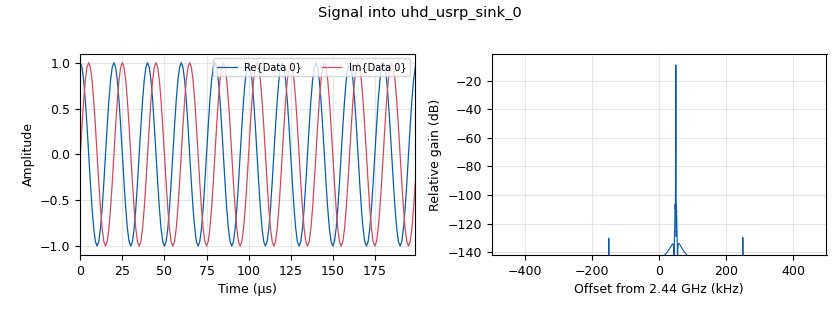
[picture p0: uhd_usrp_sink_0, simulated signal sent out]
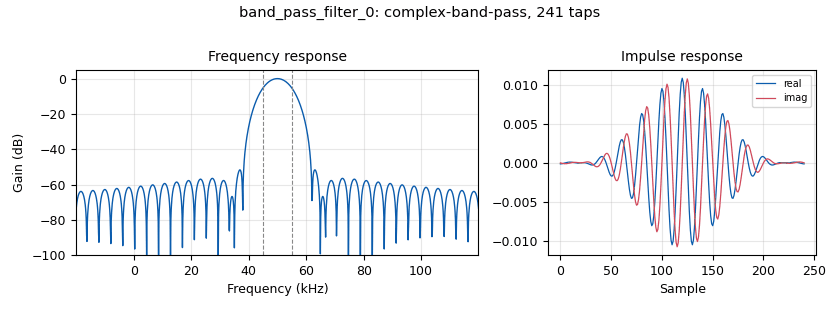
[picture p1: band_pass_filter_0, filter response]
options:
  parameters:
    generate_options: qt_gui
    id: run_phase_coeff_freq_sweep
    output_language: python
    run_options: run
    title: Frequency sweep of calibration coeficients
  states: {}

blocks:
- name: master_freq
  id: variable
  parameters:
    value: 30e6
  states: {}
- name: n_skip
  id: variable
  parameters:
    value: samp_rate
  states: {}
- name: rx0_gain
  id: variable_qtgui_range
  parameters:
    orient: Qt.Horizontal
    start: '0'
    step: '1'
    stop: '76'
    value: '10'
  states: {}
- name: rx1_gain
  id: variable_qtgui_range
  parameters:
    orient: Qt.Horizontal
    start: '0'
    step: '1'
    stop: '76'
    value: '10'
  states: {}
- name: samp_rate
  id: variable
  parameters:
    value: int(1e+6)
  states: {}
- name: tx0_gain
  id: variable_qtgui_range
  parameters:
    orient: Qt.Horizontal
    start: '0'
    step: '0.2'
    stop: '89.8'
    value: '50'
  states: {}
- name: analog_sig_source_x_0_0
  id: analog_sig_source_x
  parameters:
    amp: '1'
    freq: '50e+3'
    offset: '0'
    phase: '0'
    samp_rate: samp_rate
    type: complex
    waveform: analog.GR_COS_WAVE
  states: {}
- name: aoa_calc_phase_diff_0_0
  id: aoa_calc_phase_diff
  parameters:
    node_idx: '1'
    norm_spacing: '0.5'
  states: {}
- name: aoa_precise_moving_average_0_0_0_0_0_0_0
  id: aoa_precise_moving_average
  parameters:
    length: int(1e5)
    max_iter: int(1e5)
  states: {}
- name: band_pass_filter_0
  id: band_pass_filter
  parameters:
    decim: '1'
    gain: '1'
    high_cutoff_freq: '55e+3'
    low_cutoff_freq: '45e+3'
    samp_rate: samp_rate
    type: fir_filter_ccc
    width: '10e+3'
    win: firdes.WIN_HAMMING
  states: {}
- name: band_pass_filter_0_1
  id: band_pass_filter
  parameters:
    decim: '1'
    gain: '1'
    high_cutoff_freq: '55e+3'
    low_cutoff_freq: '45e+3'
    samp_rate: samp_rate
    type: fir_filter_ccc
    width: '10e+3'
    win: firdes.WIN_HAMMING
  states: {}
- name: blocks_complex_to_real_0
  id: blocks_complex_to_real
  parameters: {}
  states: {}
- name: blocks_complex_to_real_0_0
  id: blocks_complex_to_real
  parameters: {}
  states: {}
- name: blocks_complex_to_real_0_0_0
  id: blocks_complex_to_real
  parameters: {}
  states: {}
- name: blocks_complex_to_real_0_1
  id: blocks_complex_to_real
  parameters: {}
  states: {}
- name: blocks_skiphead_0
  id: blocks_skiphead
  parameters:
    num_items: n_skip
    type: complex
  states: {}
- name: blocks_skiphead_0_0
  id: blocks_skiphead
  parameters:
    num_items: n_skip
    type: complex
  states: {}
- name: center_freq
  id: parameter
  parameters:
    type: intx
    value: int(2.44e+9)
  states: {}
- name: qtgui_freq_sink_x_0
  id: qtgui_freq_sink_x
  parameters:
    average: '0.1'
    bw: samp_rate
    fc: center_freq
    fftsize: '1024'
    grid: 'True'
    nconnections: '4'
    type: complex
    wintype: firdes.WIN_BLACKMAN_hARRIS
  states: {}
- name: qtgui_number_sink_0
  id: qtgui_number_sink
  parameters:
    graph_type: qtgui.NUM_GRAPH_HORIZ
    label1: Raw
    label2: Filt
    nconnections: '2'
    type: float
  states: {}
- name: qtgui_time_sink_x_0
  id: qtgui_time_sink_x
  parameters:
    autoscale: 'True'
    nconnections: '4'
    size: int(1024/16)
    srate: samp_rate
    style2: '4'
    tr_mode: qtgui.TRIG_MODE_AUTO
    type: float
  states: {}
- name: qtgui_time_sink_x_1
  id: qtgui_time_sink_x
  parameters:
    size: '1024'
    srate: samp_rate
    type: float
  states: {}
- name: uhd_usrp_sink_0
  id: uhd_usrp_sink
  parameters:
    ant0: TX/RX
    bw0: samp_rate
    center_freq0: center_freq
    dev_addr: '"serial = 3111864"  '
    dev_args: '"num_send_frames=1024"'
    gain0: tx0_gain
    len_tag_name: ''
    norm_gain0: 'False'
    samp_rate: samp_rate
    sync: pc_clock
    type: fc32
  states: {}
- name: uhd_usrp_source_0
  id: uhd_usrp_source
  parameters:
    ant0: RX2
    ant1: RX2
    bw0: samp_rate
    bw1: samp_rate
    center_freq0: center_freq
    center_freq1: center_freq
    dc_offs_enb0: 'True'
    dc_offs_enb1: 'True'
    dev_addr: '"serial = 3113F3B"  '
    dev_args: '"num_recv_frames=1024"'
    gain0: rx0_gain
    gain1: rx1_gain
    iq_imbal_enb0: 'True'
    iq_imbal_enb1: 'True'
    nchan: '2'
    norm_gain0: 'False'
    norm_gain1: 'False'
    samp_rate: samp_rate
    sync: pc_clock
    type: fc32
  states: {}

connections:
- [analog_sig_source_x_0_0, '0', uhd_usrp_sink_0, '0']
- [aoa_calc_phase_diff_0_0, '0', aoa_precise_moving_average_0_0_0_0_0_0_0, '0']
- [aoa_calc_phase_diff_0_0, '0', qtgui_number_sink_0, '0']
- [aoa_calc_phase_diff_0_0, '0', qtgui_time_sink_x_1, '0']
- [aoa_precise_moving_average_0_0_0_0_0_0_0, '0', qtgui_number_sink_0, '1']
- [band_pass_filter_0, '0', aoa_calc_phase_diff_0_0, '0']
- [band_pass_filter_0, '0', blocks_complex_to_real_0, '0']
- [band_pass_filter_0, '0', qtgui_freq_sink_x_0, '0']
- [band_pass_filter_0_1, '0', aoa_calc_phase_diff_0_0, '1']
- [band_pass_filter_0_1, '0', blocks_complex_to_real_0_0, '0']
- [band_pass_filter_0_1, '0', qtgui_freq_sink_x_0, '1']
- [blocks_complex_to_real_0, '0', qtgui_time_sink_x_0, '0']
- [blocks_complex_to_real_0_0, '0', qtgui_time_sink_x_0, '1']
- [blocks_complex_to_real_0_0_0, '0', qtgui_time_sink_x_0, '3']
- [blocks_complex_to_real_0_1, '0', qtgui_time_sink_x_0, '2']
- [blocks_skiphead_0, '0', band_pass_filter_0, '0']
- [blocks_skiphead_0, '0', blocks_complex_to_real_0_1, '0']
- [blocks_skiphead_0, '0', qtgui_freq_sink_x_0, '2']
- [blocks_skiphead_0_0, '0', band_pass_filter_0_1, '0']
- [blocks_skiphead_0_0, '0', blocks_complex_to_real_0_0_0, '0']
- [blocks_skiphead_0_0, '0', qtgui_freq_sink_x_0, '3']
- [uhd_usrp_source_0, '0', blocks_skiphead_0, '0']
- [uhd_usrp_source_0, '1', blocks_skiphead_0_0, '0']

metadata:
  file_format: 1
